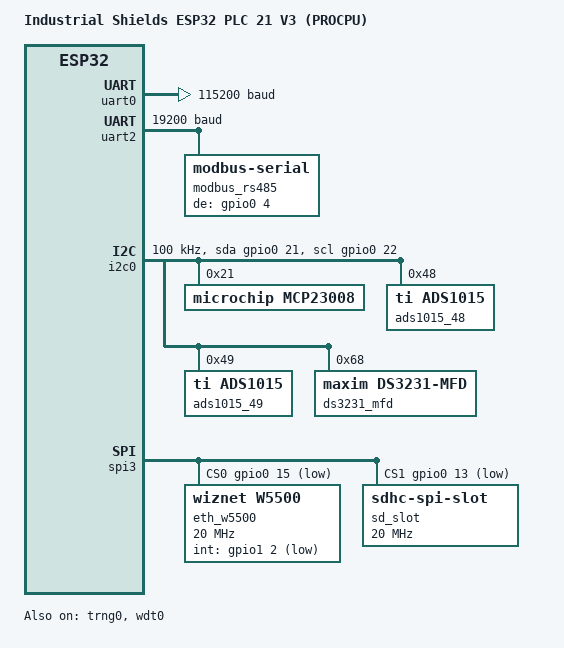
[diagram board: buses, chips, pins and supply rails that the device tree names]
/*
 * Copyright (c) 2026 New Mexico Drip Inc.
 *
 * SPDX-License-Identifier: Apache-2.0
 *
 * Industrial Shields ESP32 PLC 21 (hardware revision V3).
 * MCU: ESP32-WROOM-32UE-N16 (single-core PRO_CPU usage, 16 MB flash, no PSRAM).
 *
 * On-board peripherals (all on the internal I2C0 bus, GPIO21 SDA / GPIO22 SCL):
 *   - MCP23008 GPIO expander @ 0x21  -> digital inputs I0_0..I0_4
 *   - ADS1015  ADC            @ 0x48 -> analog/digital inputs I0_9..I0_12 (Q0_5..7 readback)
 *   - ADS1015  ADC            @ 0x49 -> analog/digital inputs I0_7..I0_8
 *   - PCA9685  PWM/output drv @ 0x40 -> digital outputs Q0_0..Q0_7
 *   - DS3231   RTC            @ 0x68
 *
 * SPI3 (VSPI) bus, MOSI=GPIO23 / MISO=GPIO19 / SCK=GPIO18:
 *   - WIZnet W5500 Ethernet controller, CS=GPIO15
 *   - microSD card slot,                CS=GPIO13
 *
 * UART0 (GPIO1/3): console / Industrial Shields USB bridge.
 * UART2 (GPIO17/16) + GPIO4 DE/RE: RS-485 transceiver on the screw terminals.
 *
 * Direct ESP32 GPIO routed to screw terminals on PLC 21:
 *   I0_5  = GPIO27 (digital input)
 *   I0_6  = GPIO26 (digital input)
 *   I_VP  = GPIO36 (analog only)
 *   I_VN  = GPIO39 (analog only)
 *
 * Direct ESP32 GPIO routed to screw terminals on PLC 21:
 *   - GPIO_0 (V3 only) = MCP23008 expander pin 7 (front-panel exposed pin).
 */

/dts-v1/;

#include <espressif/esp32/esp32_wroom_32ue_n16.dtsi>
#include "esp32_plc_21-pinctrl.dtsi"
#include <espressif/partitions_0x1000_default_16M.dtsi>

/ {
	model = "Industrial Shields ESP32 PLC 21 V3 (PROCPU)";
	compatible = "industrialshields,esp32-plc-21", "espressif,esp32";

	chosen {
		zephyr,sram          = &sram1;
		zephyr,console       = &uart0;
		zephyr,shell-uart    = &uart0;
		zephyr,flash         = &flash0;
		zephyr,code-partition = &slot0_partition;
		zephyr,uart-mcumgr   = &uart0;
	};

	aliases {
		watchdog0 = &wdt0;
		modbus0   = &modbus_rs485;
		uart-0    = &uart0;
		uart-485  = &uart2;
		i2c-0     = &i2c0;
		rtc       = &ds3231;
		eth0      = &eth_w5500;
		sdhc0     = &sd_slot;
	};
};

&uart0 {
	status = "okay";
	current-speed = <115200>;
	pinctrl-0 = <&uart0_default>;
	pinctrl-names = "default";
};

/* RS-485 transceiver on UART2.
 *
 * GPIO17 = TX  (→ MAX485 DI)
 * GPIO16 = RX  (← MAX485 RO)
 * GPIO4  = DE/RE direction control, asserted HIGH during transmit.
 *
 * The `de-gpios` property is consumed by the zephyr,modbus-serial child
 * driver to toggle the MAX485 direction pin around each frame.
 * Physical requirement: DIP switch 3 (A-zone) must be set to OFF.
 */
&uart2 {
	status = "okay";
	current-speed = <19200>;
	pinctrl-0 = <&uart2_default>;
	pinctrl-names = "default";

	modbus_rs485: modbus_rs485 {
		compatible = "zephyr,modbus-serial";
		status = "okay";
		de-gpios = <&gpio0 4 GPIO_ACTIVE_HIGH>;
	};
};

&gpio0 {
	status = "okay";
};

&gpio1 {
	status = "okay";
};

&i2c0 {
	status = "okay";
	clock-frequency = <I2C_BITRATE_STANDARD>;
	sda-gpios = <&gpio0 21 GPIO_OPEN_DRAIN>;
	scl-gpios = <&gpio0 22 GPIO_OPEN_DRAIN>;
	pinctrl-0 = <&i2c0_default>;
	pinctrl-names = "default";

	mcp23008: gpio@21 {
		compatible = "microchip,mcp23008";
		reg = <0x21>;
		gpio-controller;
		#gpio-cells = <2>;
		ngpios = <8>;
		status = "okay";
	};

	ads1015_48: adc@48 {
		compatible = "ti,ads1015";
		reg = <0x48>;
		#io-channel-cells = <1>;
		#address-cells = <1>;
		#size-cells = <0>;
		status = "okay";
	};

	ads1015_49: adc@49 {
		compatible = "ti,ads1015";
		reg = <0x49>;
		#io-channel-cells = <1>;
		#address-cells = <1>;
		#size-cells = <0>;
		status = "okay";
	};

	pca9685: pwm@40 {
		compatible = "nxp,pca9685-pwm";
		reg = <0x40>;
		#pwm-cells = <3>;
		status = "okay";
	};

	ds3231_mfd: ds3231@68 {
		compatible = "maxim,ds3231-mfd";
		reg = <0x68>;
		status = "okay";

		ds3231: ds3231-rtc {
			compatible = "maxim,ds3231-rtc";
			status = "okay";
			/* INT/SQW pin is not routed to the ESP32 on the PLC 21,
			 * so alarms / countdown features are unavailable.  The
			 * driver still requires `isw-gpios` to be present at
			 * compile time, so we point it at GPIO34 (input-only,
			 * NC on this PLC variant) as a placeholder.  Time-set
			 * with sub-second accuracy will not work, but plain
			 * time-of-day operation does.
			 */
			isw-gpios = <&gpio1 2 GPIO_ACTIVE_LOW>; /* GPIO34, NC */
		};
	};
};

&spi3 {
	#address-cells = <1>;
	#size-cells = <0>;
	status = "okay";
	pinctrl-0 = <&spim3_default>;
	pinctrl-names = "default";
	/* CS pins for: W5500 (slot 0), SD (slot 1). */
	cs-gpios = <&gpio0 15 GPIO_ACTIVE_LOW>,
		   <&gpio0 13 GPIO_ACTIVE_LOW>;

	eth_w5500: eth@0 {
		compatible = "wiznet,w5500";
		reg = <0x0>;
		spi-max-frequency = <DT_FREQ_M(20)>;
		/* INT pin is not routed on the PLC 21 PCB; point at GPIO34
		 * (input-only, not connected) as a dummy to satisfy the
		 * binding requirement. Polling is used instead (see defconfig). */
		int-gpios = <&gpio1 2 GPIO_ACTIVE_LOW>; /* GPIO34, NC */
		status = "okay";
	};

	sd_slot: sdhc@1 {
		compatible = "zephyr,sdhc-spi-slot";
		reg = <1>;
		spi-max-frequency = <DT_FREQ_M(20)>;
		status = "okay";

		mmc {
			compatible = "zephyr,sdmmc-disk";
			disk-name = "SD";
			status = "okay";
		};
	};
};

&trng0 {
	status = "okay";
};

&wdt0 {
	status = "okay";
};

/* On-board WiFi/Bluetooth radios are present in the ESP32-WROOM-32UE module
 * but the PLC 21 has no antenna populated for them and the user-facing
 * connectivity is Ethernet only.  Leave both disabled to save RAM/flash and
 * to make sure no RF activity happens unexpectedly.
 */
&wifi {
	status = "disabled";
};

&esp32_bt_hci {
	status = "disabled";
};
